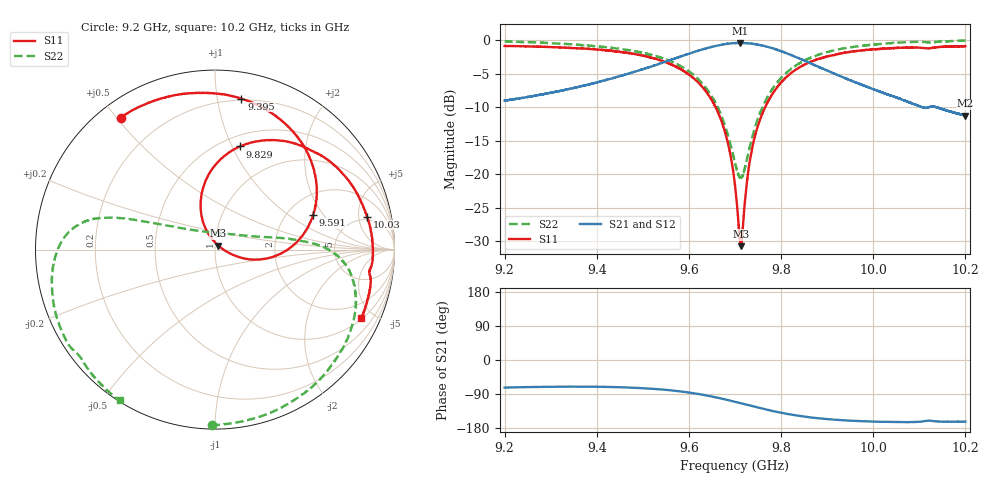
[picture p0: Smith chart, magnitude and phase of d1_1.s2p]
!Agilent Technologies,N5242A,MY51221714,A.09.90.19
!Agilent N5242A: A.09.90.19
!Date: Saturday, March 16, 2024 09:03:23
!Correction: S11(Full 2 Port(1,2))
!S21(Full 2 Port(1,2))
!S12(Full 2 Port(1,2))
!S22(Full 2 Port(1,2))
!S2P File: Measurements: S11, S21, S12, S22:
# Hz S  dB  R 50
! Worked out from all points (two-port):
!   16001 points, 9.2 GHz to 10.2 GHz, reference 50 ohm
!   highest |S21| = -0.42 dB at 9.71 GHz (marker M1); lowest = -11.3 dB at 10.2 GHz (marker M2)
!   |S21| within 3 dB of the highest: 9.54046 GHz to 9.540975 GHz (514.8 kHz wide, 0.0054 % of centre); 9.541 GHz to 9.862 GHz (321.3 MHz wide, 3.31 % of centre)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
!   lowest |S11| = -30.8 dB at 9.713 GHz (marker M3), VSWR 1.06, Z = 51.8 + j2.31 ohm
!   |S11| at or under -10 dB: 9.658 GHz to 9.765 GHz (107.7 MHz wide, 1.11 % of centre)
!   |S22| runs from -20.6 to -0.1 dB; largest |S21 - S12| = 0.012
!   S11 on the Smith chart (normalised r, x): 9.2 GHz: 0.06, +0.51; 9.395 GHz: 0.19, +1.17; 9.591 GHz: 2.74, +1.60; 9.829 GHz: 0.61, +1.07; 10.03 GHz: 4.34, +6.42; 10.2 GHz: 1.04, -4.24
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9.2e9  -0.88 125.6  -9.03 -72.8  -9.02 -73.3  -0.18 -91.1
9.277688e9  -0.99 108.1  -8.15 -71.1  -8.14 -71.5  -0.38 -69.5
9.366688e9  -1.25 87.2  -6.88 -70.4  -6.87 -70.8  -0.75 -45.9
9.394875e9  -1.37 80.1  -6.41 -70.5  -6.39 -71.0  -0.91 -38.6
9.533375e9  -2.90 40.2  -3.59 -77.1  -3.59 -77.5  -2.49 -8.2
9.591125e9  -4.72 19.5  -2.23 -84.4  -2.23 -84.9  -4.25 1.0
9.663062e9  -10.77 -10.0  -0.80 -99.7  -0.79 -100.2  -10.10 12.7
9.68525e9  -15.57 -16.8  -0.54 -106.0  -0.53 -106.5  -14.35 23.7
9.7e9  -21.60 -13.5  -0.45 -110.3  -0.43 -110.9  -18.36 44.9
9.7105e9  -29.80 24.2  -0.42 -113.5  -0.41 -114.1  -20.45 77.8
9.712812e9  -30.75 50.0  -0.43 -114.3  -0.41 -114.8  -20.48 86.0
9.731188e9  -18.45 113.9  -0.49 -119.9  -0.48 -120.5  -16.17 136.2
9.750062e9  -12.72 110.1  -0.69 -125.6  -0.66 -126.2  -11.61 151.0
9.783875e9  -7.76 95.7  -1.27 -135.1  -1.27 -135.7  -7.02 158.9
9.828812e9  -4.56 76.3  -2.43 -145.4  -2.42 -145.9  -3.94 163.7
9.866688e9  -3.18 61.5  -3.55 -151.9  -3.54 -152.4  -2.57 167.9
9.950625e9  -1.74 34.0  -6.00 -160.2  -6.01 -160.6  -1.08 -178.8
1.003088e10  -1.24 12.3  -8.09 -163.3  -8.10 -163.8  -0.48 -162.6
1.003338e10  -1.24 11.6  -8.17 -163.4  -8.15 -163.8  -0.47 -162.0
1.010444e10  -1.14 -5.6  -9.99 -162.5  -9.97 -163.0  -0.25 -146.4
1.019994e10  -0.91 -25.2  -11.26 -162.7  -11.25 -163.2  -0.05 -122.4
1.02e10  -0.91 -25.1  -11.25 -162.7  -11.25 -163.1  -0.05 -122.3
